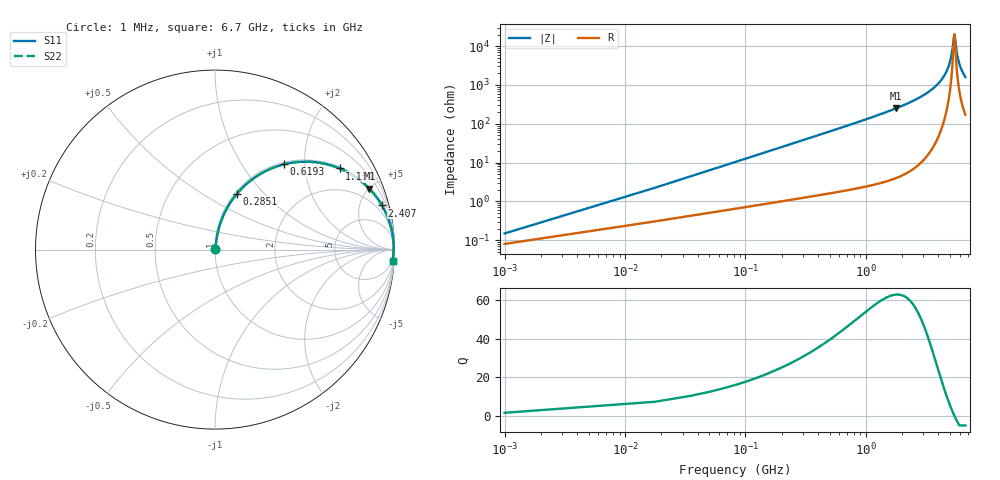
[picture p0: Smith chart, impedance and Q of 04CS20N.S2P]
! Coilcraft 0402CS-20N Chip Inductor
! 22 July 2002
# MHZ S MA R 50
!Freq  MagS11  AngS11  MagS21  AngS21  MagS12  AngS12  MagS22  AngS22
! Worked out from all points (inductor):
!   402 points, 1 MHz to 6.7 GHz, reference 50 ohm
!   read as one part in series: L = 20 nH near 34.42 MHz
!   highest Q = 62.9 at 1.789 GHz (marker M1), where L = 22.4 nH
!   self-resonance near 5.415 GHz
!   S11 on the Smith chart (normalised r, x): 1 MHz: 1.00, +0.00; 285.1 MHz: 1.02, +0.72; 619.3 MHz: 1.04, +1.58; 1.154 GHz: 1.05, +3.04; 2.407 GHz: 1.13, +7.53; 6.7 GHz: 4, -32
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1  0.001489 57.4  0.9992 -0.1  0.9992 -0.1  0.001489 57.4
51.13  0.064 81.8  0.9929 -3.7  0.9929 -3.7  0.064 81.8
67.84  0.08466 81.2  0.9906 -4.8  0.9906 -4.8  0.08466 81.2
101.26  0.1256 79.6  0.9851 -7.2  0.9851 -7.2  0.1256 79.6
151.39  0.1857 76.7  0.9741 -10.7  0.9741 -10.7  0.1857 76.7
285.07  0.3347 68.5  0.9312 -19.5  0.9312 -19.5  0.3347 68.5
619.27  0.6125 50.9  0.7766 -37.8  0.7766 -37.8  0.6125 50.9
1120.57  0.8203 33.9  0.5576 -55.1  0.5576 -55.1  0.8203 33.9
1153.99  0.8286 33.1  0.5455 -55.9  0.5455 -55.9  0.8286 33.1
1788.97  0.9246 21.5  0.3666 -67.6  0.3666 -67.6  0.9246 21.5
2240.14  0.955 16.3  0.2814 -72.7  0.2814 -72.7  0.955 16.3
2407.24  0.9624 14.8  0.2556 -74.2  0.2556 -74.2  0.9624 14.8
3359.71  0.9859 8.3  0.1441 -80.2  0.1441 -80.2  0.9859 8.3
4479.28  0.9943 3.2  0.05651 -82.6  0.05651 -82.6  0.9943 3.2
5047.42  0.9952 1.2  0.02174 -76.7  0.02174 -76.7  0.9952 1.2
5197.81  0.9952 0.7  0.01353 -68.9  0.01353 -68.9  0.9952 0.7
5415.04  0.9951 0.0  0.004995 -8.5  0.004995 -8.5  0.9951 0.0
5465.17  0.995 -0.1  0.00536 21.1  0.00536 21.1  0.995 -0.1
5598.85  0.9948 -0.5  0.01036 59.7  0.01036 59.7  0.9948 -0.5
5765.95  0.9945 -1.0  0.01835 72.1  0.01835 72.1  0.9945 -1.0
5999.89  0.9939 -1.7  0.0297 77.4  0.0297 77.4  0.9939 -1.7
6700  0.9915 -3.5  0.06189 80.3  0.06189 80.3  0.9915 -3.5
